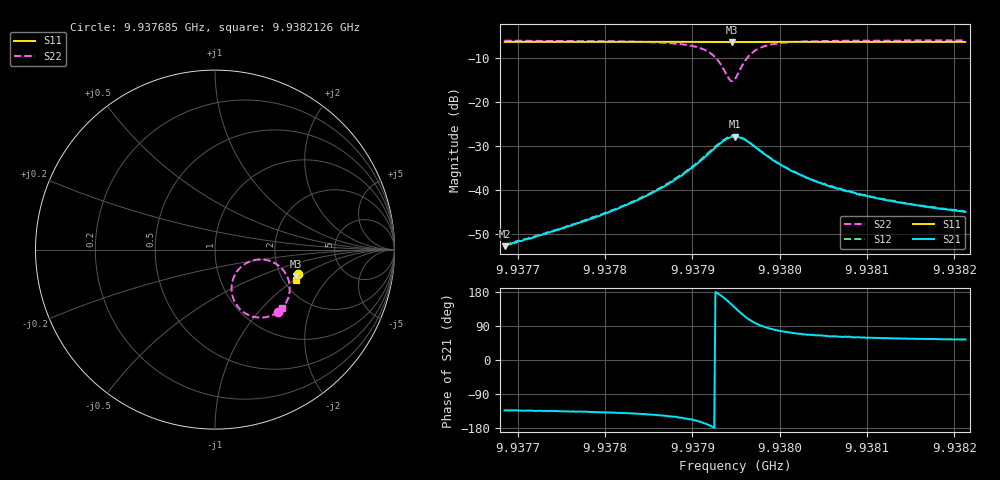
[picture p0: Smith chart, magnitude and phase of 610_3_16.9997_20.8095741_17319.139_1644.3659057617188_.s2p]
#  HZ  S  RI  R  50.00
! Rohde & Schwarz Vector Network Analyzer
! Rohde-Schwarz,ZNB20-2Port,1311601062101988,3.16
! Created: UTC 3/20/2024, 11:19:24 PM
! freq[Hz]  re:S11  im:S11  re:S21  im:S21  re:S12  im:S12  re:S22  im:S22
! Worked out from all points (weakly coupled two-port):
!   401 points, 9.937685 GHz to 9.9382126 GHz, reference 50 ohm
!   highest |S21| = -27.86 dB at 9.9379488 GHz (marker M1); lowest = -52.7 dB at 9.937685 GHz (marker M2)
!   lowest |S11| = -6.4 dB at 9.9379448 GHz (marker M3), VSWR 2.82, Z = 120 - j46.1 ohm
!   |S11| at or under -10 dB: nowhere
!   |S22| runs from -15.3 to -6.1 dB; largest |S21 - S12| = 0.002
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9.93768497e9  0.4632 -0.1335  -0.00157 -0.00169  -0.00164 -0.00171  0.3536 -0.3455
9.93777336e9  0.4608 -0.1395  -0.00315 -0.00301  -0.00325 -0.00301  0.335 -0.3578
9.93782348e9  0.4594 -0.143  -0.00517 -0.00432  -0.00531 -0.00428  0.3147 -0.3675
9.93786174e9  0.4581 -0.1458  -0.00844 -0.00574  -0.00867 -0.00573  0.2847 -0.3763
9.93789603e9  0.4564 -0.1483  -0.0155 -0.00679  -0.0158 -0.00672  0.2254 -0.3766
9.93791582e9  0.4547 -0.1496  -0.0241 -0.00477  -0.0248 -0.00428  0.158 -0.3478
9.93792637e9  0.4538 -0.1497  -0.0304 0.000279  -0.0313 0.00104  0.1135 -0.2978
9.93793429e9  0.4529 -0.1496  -0.0346 0.00767  -0.0353 0.00905  0.0925 -0.2313
9.93794088e9  0.4524 -0.1489  -0.0351 0.0164  -0.0355 0.0182  0.1025 -0.1594
9.93794484e9  0.4523 -0.1485  -0.0334 0.0221  -0.0333 0.0239  0.1256 -0.1177
9.9379488e9  0.4526 -0.1479  -0.0301 0.0271  -0.0295 0.029  0.1615 -0.0838
9.93795539e9  0.4532 -0.1476  -0.0219 0.0323  -0.021 0.0338  0.2345 -0.0558
9.93796331e9  0.4541 -0.1476  -0.0119 0.0334  -0.0109 0.0342  0.3139 -0.066
9.9379699e9  0.4548 -0.1482  -0.00568 0.0313  -0.00458 0.0319  0.3592 -0.0932
9.9379765e9  0.4553 -0.149  -0.00124 0.0283  -0.000409 0.0285  0.387 -0.1235
9.93798969e9  0.4554 -0.1503  0.00317 0.0226  0.00363 0.0226  0.4113 -0.1758
9.93800816e9  0.4554 -0.1523  0.00497 0.017  0.00543 0.0169  0.4164 -0.2239
9.93803718e9  0.4548 -0.1546  0.00529 0.0118  0.00543 0.0118  0.4097 -0.2647
9.9380728e9  0.4538 -0.1574  0.00477 0.0086  0.00501 0.00867  0.3996 -0.2902
9.93812556e9  0.4524 -0.1608  0.0041 0.00638  0.00424 0.00641  0.388 -0.3101
9.93816909e9  0.4512 -0.1638  0.00367 0.00531  0.0038 0.00528  0.3808 -0.3201
9.93821262e9  0.4501 -0.1667  0.00331 0.00458  0.00348 0.00456  0.3751 -0.3271
